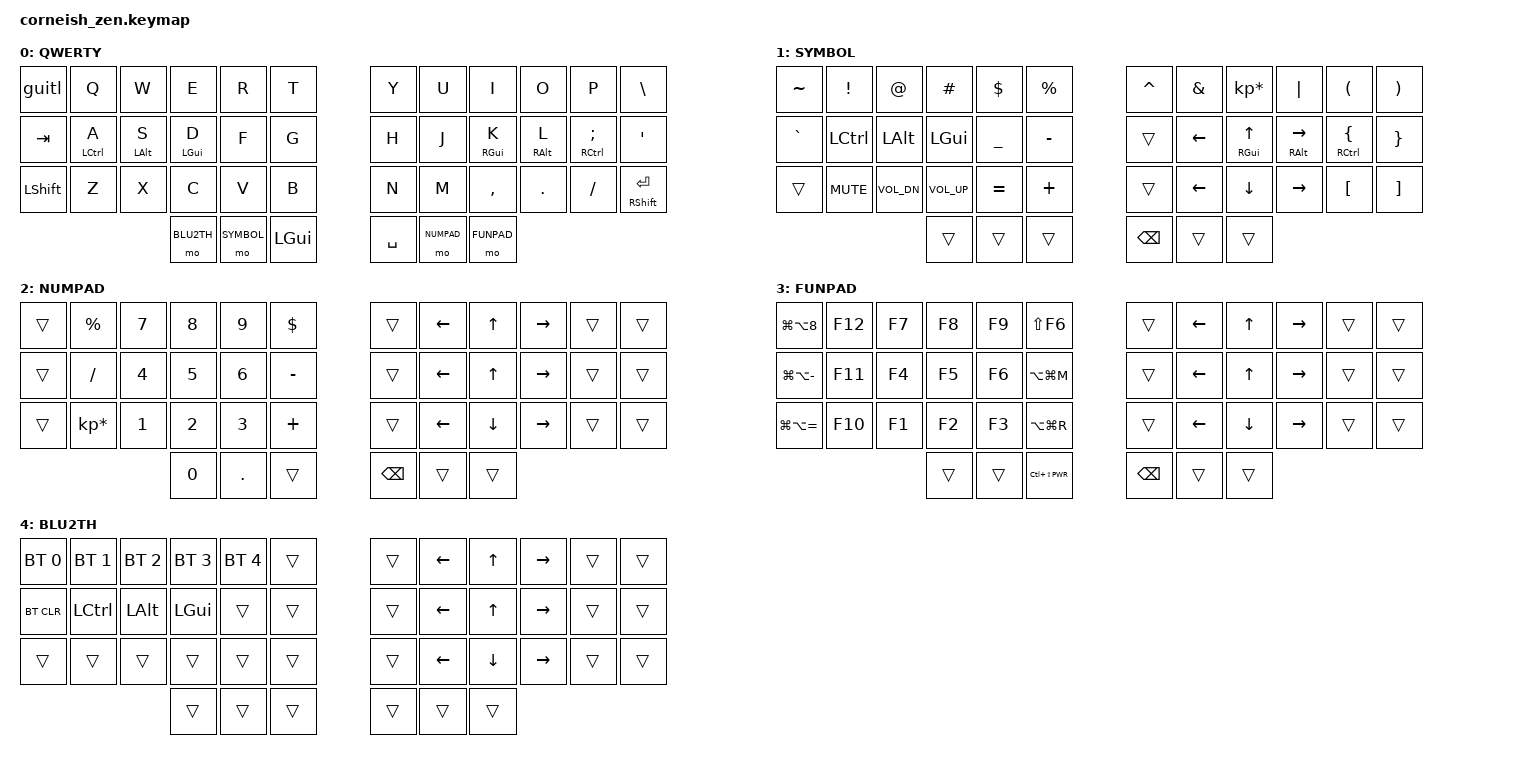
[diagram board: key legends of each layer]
/*
*
* Copyright (c) 2021 Darryl deHaan
* SPDX-License-Identifier: MIT
*
*/

#include <behaviors.dtsi>
#include <dt-bindings/zmk/keys.h>
#include <dt-bindings/zmk/bt.h>

/ {
  chosen {
    zmk,matrix_transform = &default_transform;
  };
};

#define SYMBOL  1
#define NUMPAD  2
#define FUNPAD  3
#define BLU2TH  4

// IntelliJ
#define RENAME LS(F6)
#define EXTRACT LA(LG(M))
#define RUN LA(LG(R))

#define SLEEP LC(LS(K_PWR))

// Mac Zoom (you have to turn on via Accessibility/Zoom/Keyboard shortcuts)
#define ZOOM LG(LA(N8))
#define ZIN LG(LA(MINUS))
#define ZOUT LG(LA(EQUAL))

/ {
        // This behaviors section has to be here for some reason in order for the &mt and bluetooth keys below to get along.  
        // I have no idea why that is the case.
        behaviors {
          hm: homerow_mods {
            compatible = "zmk,behavior-hold-tap";
            label = "HOMEROW_MODS";
            #binding-cells = <2>;
            tapping-term-ms = <300>;
            quick_tap_ms = <0>;
            flavor = "tap-preferred";
            bindings = <&kp>, <&kp>;
          };
          guitl: gui_tilde {
            compatible = "zmk,behavior-mod-morph";
            label = "GUI_TILDE";
            #binding-cells = <0>;
            bindings = <&kp ESC>, <&kp TILDE>;
            mods = <(MOD_LGUI|MOD_RGUI)>;
          };
};

        keymap {
                compatible = "zmk,keymap";

                default_layer {
                        label = "QWERTY";
// -----------------------------------------------------------------------------------------
// | ESC  |  Q  |  W  |  E  |  R  |  T  |||||  Y  |  U  |  I  |  O  |  P  |    \ |
// | TAB  |  A  |  S  |  D  |  F  |  G  |||||  H  |  J  |  K  |  L  |  ;  |    ' |
// | SHFT |  Z  |  X  |  C  |  V  |  B  |||||  N  |  M  |  ,  |  .  |  /  |  ENT |
//                    |moBLU|moSYM| GUI ||||| SPC |moNUM|moFUN|
                        bindings = <
   &guitl    &kp Q        &kp W        &kp E       &kp R       &kp T           &kp Y      &kp U       &kp I       &kp O       &kp P           &kp BSLH
   &kp TAB   &mt LCTRL A  &mt LALT S   &mt LGUI D  &kp F       &kp G           &kp H      &kp J       &mt RGUI K  &mt RALT L  &mt RCTRL SEMI  &kp SQT
   &kp LSHFT &kp Z        &kp X        &kp C       &kp V       &kp B           &kp N      &kp M       &kp COMMA   &kp DOT     &kp FSLH        &mt RSHFT RET
                                       &mo BLU2TH  &mo SYMBOL  &kp LGUI        &kp SPACE  &mo NUMPAD  &mo FUNPAD
                        >;
                };

                symbol_layer {
                        label = "SYMBOL";
// -----------------------------------------------------------------------------------------
// |  ~   |  !  |  @  |  #  |  $  |  %  |||||  ^  |  &  |  *  | "|" |  (  |  )   |
// |  `   |LCTRL|LALT |LGUI |  _  |  -  |||||     | LFT |  UP | RGT |  {  |  }   |
// |      |MUTE |VOL D|VOL U|  =  |  +  |||||     | LFT | DWN | RGT |  [  |  ]   |
//                    |     |     |     ||||| BSPC|     |     |
                        bindings = <
   &kp TILDE  &kp EXCL    &kp AT        &kp HASH      &kp DLLR  &kp PRCNT       &kp CARET &kp AMPS  &kp KP_MULTIPLY &kp PIPE        &kp LPAR        &kp RPAR
   &kp GRAVE  &kp LCTRL   &kp LALT      &kp LGUI      &kp UNDER &kp MINUS       &trans    &kp LEFT  &mt RGUI UP     &mt RALT RIGHT  &mt RCTRL LBRC  &kp RBRC
   &trans     &kp K_MUTE  &kp C_VOL_DN  &kp C_VOL_UP  &kp EQUAL &kp PLUS        &trans    &kp LEFT  &kp DOWN        &kp RIGHT       &kp LBKT        &kp RBKT
                                        &trans        &trans    &trans          &kp BSPC  &trans    &trans  
                        >;
                };

                numpad_layer {
                        label = "NUMPAD";
// -----------------------------------------------------------------------------------------
// |      |  %  |  7  |  8  |  9  |  $  |||||     | LFT |  UP | RGT |     |      |
// |      |  /  |  4  |  5  |  6  |  -  |||||     | LFT |  UP | RGT |     |      |
// |      |  *  |  1  |  2  |  3  |  +  |||||     | LFT | DWN | RGT |     |      |
//                    |  0  |  .  |     ||||| BSPC|     |     |
                        bindings = <
   &trans  &kp PRCNT       &kp N7   &kp N8    &kp N9    &kp DLLR    &trans    &kp LEFT  &kp UP    &kp RIGHT &trans  &trans
   &trans  &kp FSLH        &kp N4   &kp N5    &kp N6    &kp MINUS   &trans    &kp LEFT  &kp UP    &kp RIGHT &trans  &trans
   &trans  &kp KP_MULTIPLY &kp N1   &kp N2    &kp N3    &kp PLUS    &trans    &kp LEFT  &kp DOWN  &kp RIGHT &trans  &trans
                                    &kp N0    &kp DOT   &trans      &kp BSPC  &trans    &trans
                        >;
                };

                funcpad_layer {
                        label = "FUNPAD";
// -----------------------------------------------------------------------------------------
// | ZOOM  | F12 | F7  | F8  | F9  | REN |||||     | LFT |  UP | RGT |     |      |
// | ZOOM+ | F11 | F4  | F5  | F6  | EXT |||||     | LFT |  UP | RGT |     |      |
// | ZOOM- | F10 | F1  | F2  | F3  | RUN |||||     | LFT | DWN | RGT |     |      |
//                     |     |     | SLP |||||     |     |     |
                        bindings = <
 &kp ZOOM  &kp F12   &kp F7    &kp F8    &kp F9    &kp RENAME      &trans    &kp LEFT  &kp UP    &kp RIGHT &trans  &trans
 &kp ZIN   &kp F11   &kp F4    &kp F5    &kp F6    &kp EXTRACT     &trans    &kp LEFT  &kp UP    &kp RIGHT &trans  &trans
 &kp ZOUT  &kp F10   &kp F1    &kp F2    &kp F3    &kp RUN         &trans    &kp LEFT  &kp DOWN  &kp RIGHT &trans  &trans
                               &trans    &trans    &kp SLEEP       &kp BSPC  &trans    &trans
                        >;
                };

                bluetooth_layer {
                        label = "BLU2TH";
// -----------------------------------------------------------------------------------------
// | BT1  | BT2 | BT3 | BT4 | BT5 |     |||||     | LFT |  UP | RGT |     |      |
// |BTCLR |LCTRL|LALT |LGUI |     |     |||||     | LFT |  UP | RGT |     |      |
// |      |     |     |     |     |     |||||     | LFT | DWN | RGT |     |      |
//                    |     |     |     |||||     |     |     |
                        bindings = <
   &bt BT_SEL 0 &bt BT_SEL 1 &bt BT_SEL 2 &bt BT_SEL 3 &bt BT_SEL 4 &trans       &trans   &kp LEFT  &kp UP    &kp RIGHT  &trans    &trans
   &bt BT_CLR   &kp LCTRL   &kp LALT      &kp LGUI     &trans       &trans       &trans   &kp LEFT  &kp UP    &kp RIGHT  &trans    &trans
   &trans       &trans       &trans       &trans       &trans       &trans       &trans   &kp LEFT  &kp DOWN  &kp RIGHT  &trans    &trans
                                          &trans       &trans       &trans       &trans   &trans    &trans
                        >;
                };
        };
};
